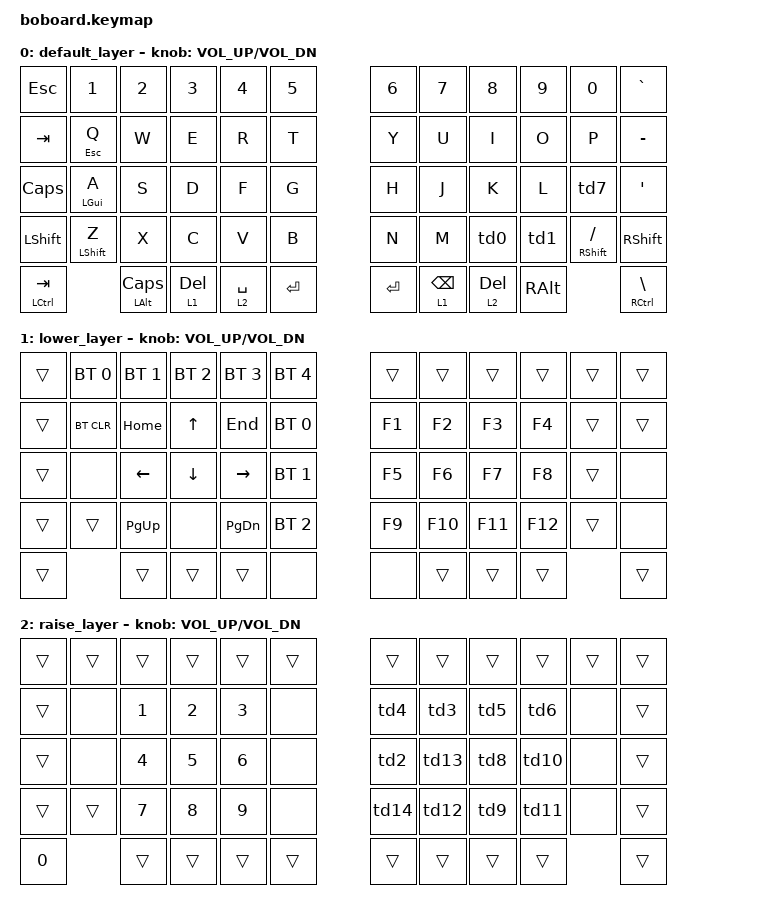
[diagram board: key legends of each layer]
/*
 * Copyright (c) 2023 The ZMK Contributors
 *
 * SPDX-License-Identifier: MIT
 */

#include <behaviors.dtsi>
#include <dt-bindings/zmk/keys.h>
#include <dt-bindings/zmk/bt.h>
#include <dt-bindings/zmk/ext_power.h>
#include <dt-bindings/zmk/outputs.h>


/* Uncomment this block if using RGB
&led_strip {
    chain-length = <6>;
    // chain-length = <35>; // Uncomment if using both per-key and underglow LEDs
    // chain-length = <29>; // Uncomment if using only per-key LEDs.
};
 */

&mt {
    tapping-term-ms = <400>;
};

/ {
    behaviors {
        td0: tap_dance_0 {
            compatible = "zmk,behavior-tap-dance";
            #binding-cells = <0>;
            tapping-term-ms = <200>;
            bindings = <&kp COMMA>, <&kp QUESTION>;
        };
        td1: tap_dance_1 {
            compatible = "zmk,behavior-tap-dance";
            #binding-cells = <0>;
            tapping-term-ms = <200>;
            bindings = <&kp PERIOD>, <&kp EXCLAMATION>;
        };
        td2: tap_dance_2 {
            compatible = "zmk,behavior-tap-dance";
            #binding-cells = <0>;
            tapping-term-ms = <200>;
            bindings = <&kp APOSTROPHE>, <&kp ASTERISK>;
        };
        td3: tap_dance_3 {
            compatible = "zmk,behavior-tap-dance";
            #binding-cells = <0>;
            tapping-term-ms = <200>;
            bindings = <&kp LEFT_PARENTHESIS>, <&kp RIGHT_PARENTHESIS>;
        };
        td4: tap_dance_4 {
            compatible = "zmk,behavior-tap-dance";
            #binding-cells = <0>;
            tapping-term-ms = <200>;
            bindings = <&kp LEFT_BRACKET>, <&kp RIGHT_BRACKET>;
        };
        td5: tap_dance_5 {
            compatible = "zmk,behavior-tap-dance";
            #binding-cells = <0>;
            tapping-term-ms = <200>;
            bindings = <&kp LEFT_BRACE>, <&kp RIGHT_BRACE>;
        };
        td6: tap_dance_6 {
            compatible = "zmk,behavior-tap-dance";
            #binding-cells = <0>;
            tapping-term-ms = <200>;
            bindings = <&kp LESS_THAN>, <&kp GREATER_THAN>;
        };
        td7: tap_dance_7 {
            compatible = "zmk,behavior-tap-dance";
            #binding-cells = <0>;
            tapping-term-ms = <200>;
            bindings = <&kp COLON>, <&kp SEMICOLON>;
        };
        td8: tap_dance_8 {
            compatible = "zmk,behavior-tap-dance";
            #binding-cells = <0>;
            tapping-term-ms = <200>;
            bindings = <&kp MINUS>, <&kp PLUS>;
        };
        td9: tap_dance_9 {
            compatible = "zmk,behavior-tap-dance";
            #binding-cells = <0>;
            tapping-term-ms = <200>;
            bindings = <&kp HASH>, <&kp DOLLAR>;
        };
        td10: tap_dance_10 {
            compatible = "zmk,behavior-tap-dance";
            #binding-cells = <0>;
            tapping-term-ms = <200>;
            bindings = <&kp EQUAL>, <&kp UNDERSCORE>;
        };
        td11: tap_dance_11 {
            compatible = "zmk,behavior-tap-dance";
            #binding-cells = <0>;
            tapping-term-ms = <200>;
            bindings = <&kp PERCENT>, <&kp AMPERSAND>;
        };
        td12: tap_dance_12 {
            compatible = "zmk,behavior-tap-dance";
            #binding-cells = <0>;
            tapping-term-ms = <200>;
            bindings = <&kp PIPE>, <&kp CARET>;
        };
        td13: tap_dance_13 {
            compatible = "zmk,behavior-tap-dance";
            #binding-cells = <0>;
            tapping-term-ms = <200>;
            bindings = <&kp DOUBLE_QUOTES>, <&kp AT>;
        };
        td14: tap_dance_14 {
            compatible = "zmk,behavior-tap-dance";
            #binding-cells = <0>;
            tapping-term-ms = <200>;
            bindings = <&kp GRAVE>, <&kp TILDE>;
        };
    };

    keymap {
        compatible = "zmk,keymap";

        default_layer {
// ------------------------------------------------------------------------------------------------------------
// |  ESC  |  1  |  2  |  3   |  4   |  5   |                   |  6   |  7    |  8    |  9   |   0   |   `   |
// |  TAB  |  Q  |  W  |  E   |  R   |  T   |                   |  Y   |  U    |  I    |  O   |   P   |   -   |
// |  CAPS |  A  |  S  |  D   |  F   |  G   |                   |  H   |  J    |  K    |  L   |   ;   |   '   |
// | SHIFT |  Z  |  X  |  C   |  V   |  B   |                   |  N   |  M    |  ,    |  .   |   /   | SHIFT |
// |  CTRL |     | ALT | LOWER| ENTER| SPACE|                   | ENTER| RAISE | BSPC  | GUI  |       |  RALT |
            bindings = <
&kp ESC     &kp N1       &kp N2        &kp N3       &kp N4      &kp N5                     &kp N6     &kp N7       &kp N8       &kp N9      &kp N0           &kp GRAVE
&kp TAB     &mt ESC Q    &kp W         &kp E        &kp R       &kp T                      &kp Y      &kp U        &kp I        &kp O       &kp P            &kp MINUS
&kp CAPS    &mt LGUI A   &kp S         &kp D        &kp F       &kp G                      &kp H      &kp J        &kp K        &kp L       &td7             &kp SQT
&kp LSHFT   &mt LSHFT Z  &kp X         &kp C        &kp V       &kp B                      &kp N      &kp M        &td0         &td1        &mt RSHFT SLASH  &kp RSHFT
&mt LCTRL TAB            &mt LALT CAPS &lt 1 DEL    &lt 2 SPACE &kp ENTER                  &kp ENTER  &lt 1 BSPC   &lt 2 DEL    &kp RALT                     &mt RCTRL BACKSLASH
            >;

            sensor-bindings = <&inc_dec_kp C_VOL_UP C_VOL_DN>;
        };

        lower_layer {
// ------------------------------------------------------------------------------------------------------------
// | BTCLR | BT1 | BT2 |  BT3 |  BT4 |  BT5 |                   |      |       |       |      |       |       |
// |  F1   |  F2 |  F3 |  F4  |  F5  |  F6  |                   |  F7  |  F8   |  F9   |  F10 |  F11  |  F12  |
// |   `   |  !  |  @  |  #   |  $   |  %   |                   |  ^   |  &    |  *    |  (   |   )   |   ~   |
// |       |     |     |      |      |      |                   |      |  _    |  +    |  {   |   }   |  "|"  |
//               |     |      |      |      |                   |      |       |       |      |
            bindings = <
&trans      &bt BT_SEL 0   &bt BT_SEL 1         &bt BT_SEL 2     &bt BT_SEL 3  &bt BT_SEL 4                    &trans    &trans    &trans    &trans    &trans  &trans
&trans      &bt BT_CLR     &kp HOME             &kp UP           &kp END       &bt BT_SEL 0                    &kp F1    &kp F2    &kp F3    &kp F4    &trans  &trans
&trans      &none          &kp LEFT             &kp DOWN         &kp RIGHT     &bt BT_SEL 1                    &kp F5    &kp F6    &kp F7    &kp F8    &trans  &none
&trans      &trans         &kp PG_UP            &none            &kp PG_DN     &bt BT_SEL 2                    &kp F9    &kp F10   &kp F11   &kp F12   &trans  &none
&trans                     &trans               &trans           &trans        &none                           &none     &trans    &trans    &trans            &trans
            >;

            sensor-bindings = <&inc_dec_kp C_VOL_UP C_VOL_DN>;
        };

        raise_layer {
// ------------------------------------------------------------------------------------------------------------
// |       |     |     |      |      |      |                   |      |       |       |      |       |       |
// |   `   |  1  |  2  |  3   |  4   |  5   |                   |  6   |   7   |   8   |  9   |   0   |       |
// |   F1  |  F2 |  F3 |  F4  |  F5  |  F6  |                   |      |   <-  |   v   |  ^   |  ->   |       |
// |   F7  |  F8 |  F9 |  F10 |  F11 |  F12 |                   |  +   |   -   |   =   |  [   |   ]   |   \   |
//               |     |      |      |      |                   |      |       |       |      |
            bindings = <
&trans    &trans   &trans   &trans    &trans    &trans                      &trans            &trans  &trans      &trans         &trans      &trans
&trans    &none    &kp N1   &kp N2    &kp N3    &none                       &td4              &td3    &td5        &td6           &none       &trans
&trans    &none    &kp N4   &kp N5    &kp N6    &none                       &td2              &td13   &td8        &td10          &none       &trans
&trans    &trans   &kp N7   &kp N8    &kp N9    &none                       &td14             &td12   &td9        &td11          &none       &trans
&kp N0             &trans   &trans    &trans    &trans                      &trans            &trans  &trans      &trans                     &trans
              >;

                sensor-bindings = <&inc_dec_kp C_VOL_UP C_VOL_DN>;
        };
    };
};
